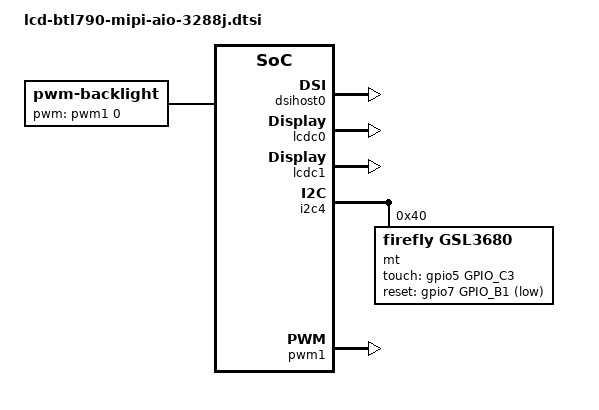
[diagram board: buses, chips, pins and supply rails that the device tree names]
/*
 * Copyright (C) 2014 Firefly, Inc.
 * arch/arm/boot/dts/lcd-ips5k0350fpc-mipi.dtsi
 * create date: 2014-04-15
 * lcd model: ips5k0350fpc
 * resolution: 1080X1920
 * mipi channel: single 
 */

/* Firefly-RK3288-AIO kernel config
 *
 * kernel/arch/arm/configs/firefly-rk3288-AIO_defconfig
 *  -CONFIG_LCD_GENERAL=y
 *  +# CONFIG_LCD_GENERAL is not set
 *  +# CONFIG_TC358768_RGB2MIPI is not set
 *  -# CONFIG_LCD_MIPI is not set
 *  +CONFIG_LCD_MIPI=y
 *  -# CONFIG_MIPI_DSI is not set
 *  +CONFIG_MIPI_DSI=y
 *  +CONFIG_RK32_MIPI_DSI=y
 *
*/

#include <dt-bindings/rkmipi/mipi_dsi.h>
/ {
	backlight {
		compatible = "pwm-backlight";
		pwms = <&pwm1 0 25000>;
		rockchip,pwm_id= <1>;
		/* | dark(255-221) | light scale(220-0) | , scale_div=255*/
		brightness-levels = <200 199 198 197 196 195 194 193 192 191 190 189 188 187 186 185 184 183 182 181 180 179 178 177 176 175 174 173 172 171 170 169 168 167 166 165 164 163 162 161 160 159 158 157 156 155 154 153 152 151 150 149 148 147 146 145 144 143 142 141 140 139 138 137 136 135 134 133 132 131 130 129 128 127 126 125 124 123 122 121 120 119 118 117 116 115 114 113 112 111 110 109 108 107 106 105 104 103 102 101 100 99 98 97 96 95 94 93 92 91 90 89 88 87 86 85 84 83 82 81 80 79 78 77 76 75 74 73 72 71 70 69 68 67 66 65 64 63 62 61 60 59 58 57 56 55 54 53 52 51 50 49 48 47 46 45 44 43 42 41 40 39 38 37 36 35 34 33 32 31 30 29 28 27 26 25 24 23 22 21 20 19 18 17 16 15 14 13 12 11 10 9 8 7 6 5 4>;
		default-brightness-level = <10>;
        brightness-reversal = <1>;
		//enable-gpios = <&gpio5 GPIO_C1 GPIO_ACTIVE_HIGH>;
	};

		/* about mipi */
		disp_mipi_init: mipi_dsi_init{
					compatible = "rockchip,mipi_dsi_init";
					rockchip,screen_init	= <1>;
					rockchip,dsi_lane		= <4>;
					rockchip,dsi_hs_clk		= <1000>;
					rockchip,mipi_dsi_num	= <1>;
		};
		disp_mipi_power_ctr: mipi_power_ctr {
					compatible = "rockchip,mipi_power_ctr";
										
					mipi_lcd_rst:mipi_lcd_rst{
							compatible = "rockchip,lcd_rst";
							rockchip,gpios = <&gpio7 GPIO_B5 GPIO_ACTIVE_HIGH>;
							rockchip,delay = <100>;
					};
													
					mipi_lcd_en:mipi_lcd_en {
							compatible = "rockchip,lcd_en";
							rockchip,gpios = <&gpio5 GPIO_C1 GPIO_ACTIVE_HIGH>;
							rockchip,delay = <100>;
					};

		};
		disp_mipi_init_cmds: screen-on-cmds {
					rockchip,cmd_debug = <1>;
					compatible = "rockchip,screen-on-cmds";
					rockchip,on-cmds1 {
							compatible = "rockchip,on-cmds";
							rockchip,cmd_type = <LPDT>;
							rockchip,dsi_id = <0>;
							rockchip,cmd = <0x05 0x29>;
							rockchip,cmd_delay = <0>;
					};

					rockchip,on-cmds2 {
							compatible = "rockchip,on-cmds";
							rockchip,cmd_type = <LPDT>;
							rockchip,dsi_id = <0>;
							rockchip,cmd = <0x05 0x11>;
							rockchip,cmd_delay = <200>;
					};
		};

		disp_timings: display-timings {
                        native-mode = <&timing0>;
                        compatible = "rockchip,display-timings";
                        timing0: timing0 {
				screen-type = <SCREEN_MIPI>;
				lvds-format = <LVDS_8BIT_2>;
				out-face    = <OUT_P666>;
				color-mode = <COLOR_RGB>;
				clock-frequency = <80000000>;
				hactive = <768>;
				vactive = <1024>;
				hsync-len = <64>;
				hback-porch = <56>;
				hfront-porch = <60>;
				
				vsync-len = <14>;
				vback-porch = <30>;
				vfront-porch = <36>;
				
				hsync-active = <0>;
				vsync-active = <0>;
				de-active = <0>;
				pixelclk-active = <1>;
				swap-rb = <0>;
				swap-rg = <0>;
				swap-gb = <0>;
                     	};
               };
};

&dsihost0 {
	status = "okay";
};

&disp_timings {
	native-mode = <&timing0>;
};

&rk_screen {
	 display-timings = <&disp_timings>;
};

/*lcdc0 as PRMRY(HDMI)*/
&lcdc0 {
	status = "okay";
	rockchip,iommu-enabled = <1>;
	rockchip,prop = <PRMRY>;
        power_ctr: power_ctr {
                 rockchip,debug = <1>;
        };
};

&lcdc1 {
	status = "okay";
	rockchip,iommu-enabled = <1>;
	rockchip,prop = <EXTEND>;
};

&i2c4 {
	status = "okay";

        mt@40 {
                 status = "okay";
                 compatible = "firefly,gsl3680";
                 reg = <0x40>;
                 touch-gpio = <&gpio5 GPIO_C3 IRQ_TYPE_EDGE_RISING>;
                 reset-gpio = <&gpio7 GPIO_B1 GPIO_ACTIVE_LOW>;
                 max-y = <2048>;
                 max-x = <1536>;
                 flip-x = <1>;
                 flip-y = <1>;
                 swap-xy = <0>;
         };
/*
        mpu6050:mpu@68{
            status = "okay";
            compatible = "mpu6050";
            reg = <0x68>;
            mpu-int_config = <0x10>;
            mpu-level_shifter = <0>;
            mpu-orientation = <0 1 0 1 0 0 0 0 1>;
            orientation-x= <1>;
            orientation-y= <1>;
            orientation-z= <1>;
            irq-gpio = <&gpio5 GPIO_C2 GPIO_ACTIVE_LOW>;
            mpu-debug = <0>;
        };
*/
};

&pwm1 {
	status = "okay";
};

